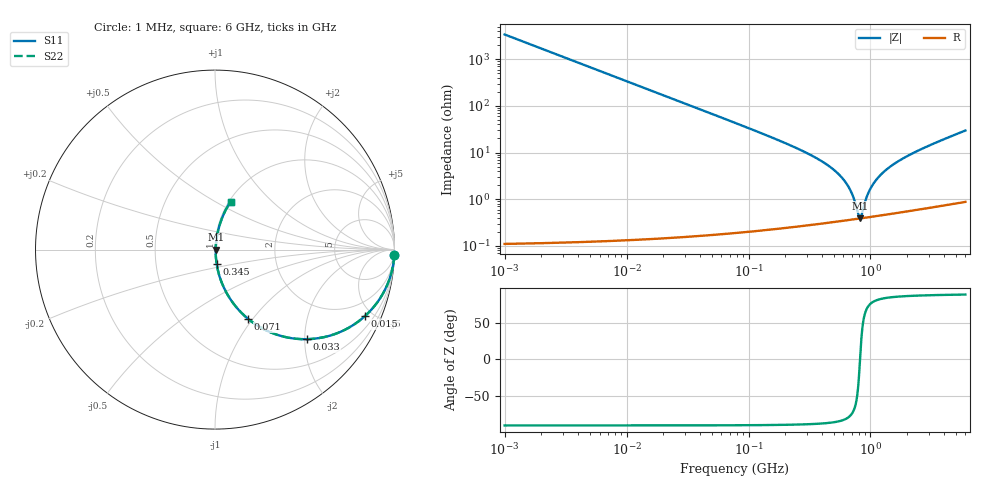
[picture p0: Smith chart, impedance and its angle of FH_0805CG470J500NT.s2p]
! FH 0805CG470J500NT 47 pF 0805 C0G (C8)
! FH publishes no RF data: typical 0805 C0G model, ESL=0.8 nH, ESR=0.10+0.10*sqrt(f/100MHz) ohm
! Generated by make_s2p.py - an estimate, not a measurement
! Series-thru 2-port: part connected between port 1 and port 2.
# Hz S RI R 50
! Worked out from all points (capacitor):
!   1500 points, 1 MHz to 6 GHz, reference 50 ohm
!   read as one part in series: C = 47 pF near 8 MHz
!   lowest |Z| = 386 mohm at 820 MHz (marker M1)
!   series resonance near 820.8 MHz, so ESL is about 800 pH
!   S11 on the Smith chart (normalised r, x): 1 MHz: 1, -68; 15 MHz: 1.00, -4.51; 33 MHz: 1.00, -2.05; 71 MHz: 1.00, -0.95; 345 MHz: 1.01, -0.16; 6 GHz: 1.02, +0.59
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1000000  0.9991 -0.0295  0.000872 0.0295  0.000872 0.0295  0.9991 -0.0295
3000000  0.9922 -0.0879  0.0078 0.0879  0.0078 0.0879  0.9922 -0.0879
5000000  0.9786 -0.1445  0.0214 0.1445  0.0214 0.1445  0.9786 -0.1445
1.5e7  0.8357 -0.3702  0.1643 0.3702  0.1643 0.3702  0.8357 -0.3702
1.9e7  0.7602 -0.4266  0.2398 0.4266  0.2398 0.4266  0.7602 -0.4266
3.3e7  0.5121 -0.4991  0.4879 0.4991  0.4879 0.4991  0.5121 -0.4991
7.1e7  0.184 -0.3856  0.816 0.3856  0.816 0.3856  0.184 -0.3856
7.8e7  0.1573 -0.3619  0.8427 0.3619  0.8427 0.3619  0.1573 -0.3619
1.41e8  0.0534 -0.2202  0.9466 0.2202  0.9466 0.2202  0.0534 -0.2202
3.31e8  0.01 -0.0846  0.99 0.0846  0.99 0.0846  0.01 -0.0846
3.45e8  0.00928 -0.0798  0.9907 0.0798  0.9907 0.0798  0.00928 -0.0798
4.87e8  0.0052 -0.0447  0.9948 0.0447  0.9948 0.0447  0.0052 -0.0447
6.16e8  0.00404 -0.0238  0.996 0.0238  0.996 0.0238  0.00404 -0.0238
7.11e8  0.00379 -0.0118  0.9962 0.0118  0.9962 0.0118  0.00379 -0.0118
8.02e8  0.00382 -0.0019  0.9962 0.0019  0.9962 0.0019  0.00382 -0.0019
8.2e8  0.00385 -7.77e-05  0.9962 7.77e-05  0.9962 7.77e-05  0.00385 -7.77e-05
8.4e8  0.00389 0.0019  0.9961 -0.0019  0.9961 -0.0019  0.00389 0.0019
9.15e8  0.00409 0.00891  0.9959 -0.00891  0.9959 -0.00891  0.00409 0.00891
1e9  0.00441 0.0163  0.9956 -0.0163  0.9956 -0.0163  0.00441 0.0163
1.41e9  0.00689 0.0463  0.9931 -0.0463  0.9931 -0.0463  0.00689 0.0463
2.43e9  0.0173 0.1057  0.9827 -0.1057  0.9827 -0.1057  0.0173 0.1057
6e9  0.0872 0.2678  0.9128 -0.2678  0.9128 -0.2678  0.0872 0.2678
